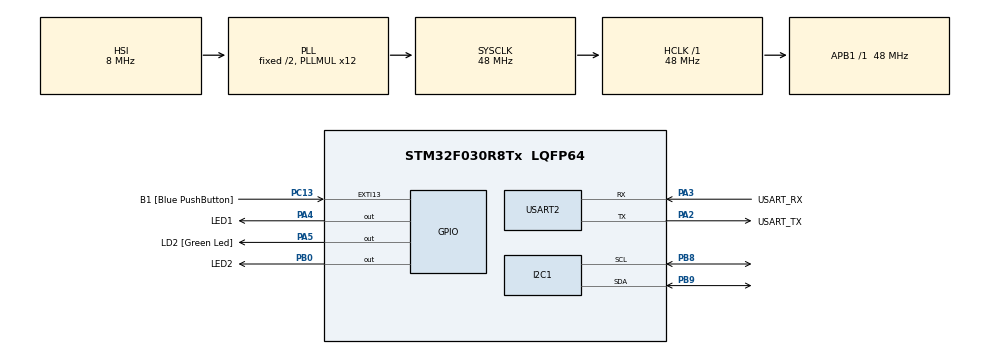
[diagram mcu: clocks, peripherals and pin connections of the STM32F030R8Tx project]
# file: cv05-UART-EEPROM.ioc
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Dma.Request0=USART2_RX
Dma.USART2_RX.0.Direction=DMA_PERIPH_TO_MEMORY
Dma.USART2_RX.0.Instance=DMA1_Channel5
Dma.USART2_RX.0.MemDataAlignment=DMA_MDATAALIGN_BYTE
Dma.USART2_RX.0.MemInc=DMA_MINC_ENABLE
Dma.USART2_RX.0.Mode=DMA_CIRCULAR
Dma.USART2_RX.0.PeriphDataAlignment=DMA_PDATAALIGN_BYTE
Dma.USART2_RX.0.PeriphInc=DMA_PINC_DISABLE
Dma.USART2_RX.0.Priority=DMA_PRIORITY_LOW
Mcu.Family=STM32F0
Mcu.Name=STM32F030R8Tx
Mcu.Package=LQFP64
NVIC.DMA1_Channel4_5_IRQn=true\:0\:0\:false\:false\:true\:false\:true\:true
PA13.GPIO_Label=TMS
PA13.Mode=Serial_Wire
PA13.Signal=SYS_SWDIO
PA14.GPIO_Label=TCK
PA14.Mode=Serial_Wire
PA14.Signal=SYS_SWCLK
PA2.GPIO_Label=USART_TX
PA2.GPIO_Mode=GPIO_MODE_AF_PP
PA2.GPIO_PuPd=GPIO_NOPULL
PA2.GPIO_Speed=GPIO_SPEED_FREQ_LOW
PA2.Mode=Asynchronous
PA2.Signal=USART2_TX
PA3.GPIO_Label=USART_RX
PA3.GPIO_Mode=GPIO_MODE_AF_PP
PA3.GPIO_PuPd=GPIO_NOPULL
PA3.GPIO_Speed=GPIO_SPEED_FREQ_LOW
PA3.Mode=Asynchronous
PA3.Signal=USART2_RX
PA4.GPIO_Label=LED1
PA4.Signal=GPIO_Output
PA5.GPIO_Label=LD2 [Green Led]
PA5.GPIO_Mode=GPIO_MODE_OUTPUT_PP
PA5.GPIO_PuPd=GPIO_NOPULL
PA5.GPIO_Speed=GPIO_SPEED_FREQ_LOW
PA5.Signal=GPIO_Output
PB0.GPIO_Label=LED2
PB0.Signal=GPIO_Output
PB8.Mode=I2C
PB8.Signal=I2C1_SCL
PB9.Mode=I2C
PB9.Signal=I2C1_SDA
PC13.GPIO_Label=B1 [Blue PushButton]
PC13.GPIO_ModeDefaultEXTI=GPIO_MODE_IT_FALLING
PC13.Signal=GPXTI13
PC14-OSC32_IN.Mode=LSE-External-Oscillator
PC14-OSC32_IN.Signal=RCC_OSC32_IN
PC15-OSC32_OUT.Mode=LSE-External-Oscillator
PC15-OSC32_OUT.Signal=RCC_OSC32_OUT
PF0-OSC_IN.Mode=HSE-External-Clock-Source
PF0-OSC_IN.Signal=RCC_OSC_IN
PF1-OSC_OUT.Signal=RCC_OSC_OUT
ProjectManager.HeapSize=0x200
ProjectManager.StackSize=0x400
ProjectManager.TargetToolchain=STM32CubeIDE
RCC.AHBFreq_Value=48000000
RCC.APB1Freq_Value=48000000
RCC.APB1TimFreq_Value=48000000
RCC.HCLKFreq_Value=48000000
RCC.PLLMUL=RCC_PLL_MUL12
RCC.SYSCLKFreq_VALUE=48000000
RCC.SYSCLKSource=RCC_SYSCLKSOURCE_PLLCLK
USART2.VirtualMode-Asynchronous=VM_ASYNC
board=NUCLEO-F030R8

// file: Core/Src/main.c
/* USER CODE BEGIN Header */
/**
 ******************************************************************************
 * @file           : main.c
 * @brief          : Main program body
 ******************************************************************************
 * @attention
 *
 * Copyright (c) 2023 STMicroelectronics.
 * All rights reserved.
 *
 * This software is licensed under terms that can be found in the LICENSE file
 * in the root directory of this software component.
 * If no LICENSE file comes with this software, it is provided AS-IS.
 *
 ******************************************************************************
 */
/* USER CODE END Header */
#include "main.h"

/* USER CODE BEGIN Includes */
#include <stdio.h>
#include <string.h>
#include <stdlib.h>
/* USER CODE END Includes */

/* USER CODE BEGIN PD */
#define RX_BUFFER_LEN 64
#define CMD_BUFFER_LEN 256
#define uart_rx_write_ptr (RX_BUFFER_LEN - hdma_usart2_rx.Instance->CNDTR)

#define EEPROM_ADDR 0xA0
/* USER CODE END PD */

I2C_HandleTypeDef hi2c1;

UART_HandleTypeDef huart2;
DMA_HandleTypeDef hdma_usart2_rx;

/* USER CODE BEGIN PV */
static volatile uint16_t uart_rx_read_ptr = 0;
static uint8_t uart_rx_buf[RX_BUFFER_LEN];
/* USER CODE END PV */

void SystemClock_Config(void);
static void MX_GPIO_Init(void);
static void MX_DMA_Init(void);
static void MX_USART2_UART_Init(void);
static void MX_I2C1_Init(void);

/* USER CODE BEGIN 0 */
int _write(int file, char const *buf, int n) {
	/* stdout redirection to UART2 */
	HAL_UART_Transmit(&huart2, (uint8_t*) (buf), n, HAL_MAX_DELAY);
	return n;
}

static void uart_process_command(char *cmd) {
	char *token;
	token = strtok(cmd, " ");

	// ----------------- HELLO command -----------------
	if (strcasecmp(token, "HELLO") == 0) {
		printf("Komunikace OK\n");
	}

	// ----------------- LED1 command -----------------
	else if (strcasecmp(token, "LED1") == 0) {
		token = strtok(NULL, " ");

		if (strcasecmp(token, "ON") == 0) {
			// Turn on LED1
			HAL_GPIO_WritePin(LED1_GPIO_Port, LED1_Pin, 1);
		} else if (strcasecmp(token, "OFF") == 0) {
			// Turn off LED1
			HAL_GPIO_WritePin(LED1_GPIO_Port, LED1_Pin, 0);
		} else {
			printf("N");
		}
		printf("OK\n");
	}

	// ----------------- LED2 command -----------------
	else if (strcasecmp(token, "LED2") == 0) {
		token = strtok(NULL, " ");

		if (strcasecmp(token, "ON") == 0) {
			// Turn on LED2
			HAL_GPIO_WritePin(LED2_GPIO_Port, LED2_Pin, 1);
		} else if (strcasecmp(token, "OFF") == 0) {
			// Turn off LED2
			HAL_GPIO_WritePin(LED2_GPIO_Port, LED2_Pin, 0);
		} else {
			printf("N");
		}
		printf("OK\n");
	}

	// ----------------- STATUS command -----------------
	else if (strcasecmp(token, "STATUS") == 0) {
		printf("LED1 %s; LED2 %s;\n",
				HAL_GPIO_ReadPin(LED1_GPIO_Port, LED1_Pin)?"ON":"OFF",
				HAL_GPIO_ReadPin(LED2_GPIO_Port, LED2_Pin)?"ON":"OFF");
	}

	// ----------------- READ command -----------------
	else if (strcasecmp(token, "READ") == 0) {
		token = strtok(NULL, " ");

		uint16_t addr = atoi(token);
		uint8_t value;

		HAL_I2C_Mem_Read(&hi2c1, EEPROM_ADDR, addr, I2C_MEMADD_SIZE_16BIT, &value, 1, 1000);
		printf("Hodnota na adrese: 0x%04X je 0x%02X\n", addr, value);
	}

	// ----------------- WRITE command -----------------
	else if (strcasecmp(token, "WRITE") == 0) {
		token = strtok(NULL, " ");
		uint16_t addr = atoi(token);
		token = strtok(NULL, " ");
		uint8_t value = atoi(token);

		HAL_I2C_Mem_Write(&hi2c1, EEPROM_ADDR, addr, I2C_MEMADD_SIZE_16BIT, &value, 1, 1000);
		/* Check if the EEPROM is ready for a new operation */
		while (HAL_I2C_IsDeviceReady(&hi2c1, EEPROM_ADDR, 300, 1000) == HAL_TIMEOUT) {}
		printf("Uspesne zapsana hodnota: 0x%02X na adresu 0x%04X\n", value, addr);

	}

	// ----------------- DUMP command -----------------
	else if (strcasecmp(token, "DUMP") == 0) {
		for (uint16_t addr = 0; addr < 16; addr++) {
			uint8_t value;
			HAL_I2C_Mem_Read(&hi2c1, EEPROM_ADDR, addr, I2C_MEMADD_SIZE_16BIT, &value, 1, 1000);
			printf("%02X%s", value, (addr%8)==7?"\n":" ");
		}
	}
}

static void uart_byte_available(uint8_t c) {

	static uint16_t cnt;
	static char data[CMD_BUFFER_LEN];

	if (cnt < CMD_BUFFER_LEN && c >= 32 && c <= 126)
		data[cnt++] = c;

	if ((c == '\n' || c == '\r') && cnt > 0) {
		data[cnt] = '\0';
		uart_process_command(data);
		cnt = 0;
	}

}
/* USER CODE END 0 */

int main(void)
{

  /* MCU Configuration--------------------------------------------------------*/

  /* Reset of all peripherals, Initializes the Flash interface and the Systick. */
  HAL_Init();

  /* Configure the system clock */
  SystemClock_Config();

  /* Initialize all configured peripherals */
  MX_GPIO_Init();
  MX_DMA_Init();
  MX_USART2_UART_Init();
  MX_I2C1_Init();

  /* Infinite loop */
  /* USER CODE BEGIN WHILE */
	HAL_UART_Receive_DMA(&huart2, uart_rx_buf, RX_BUFFER_LEN);

	while (1) {

		while (uart_rx_read_ptr != uart_rx_write_ptr) {
			uint8_t b = uart_rx_buf[uart_rx_read_ptr];

			if (++uart_rx_read_ptr >= RX_BUFFER_LEN)
				uart_rx_read_ptr = 0; // increase read pointer

			uart_byte_available(b); // process every received byte with the RX state machine
		}

    /* USER CODE END WHILE */

	}
}

void SystemClock_Config(void)
{
  RCC_OscInitTypeDef RCC_OscInitStruct = {0};
  RCC_ClkInitTypeDef RCC_ClkInitStruct = {0};
  RCC_PeriphCLKInitTypeDef PeriphClkInit = {0};

  /** Initializes the RCC Oscillators according to the specified parameters
  * in the RCC_OscInitTypeDef structure.
  */
  RCC_OscInitStruct.OscillatorType = RCC_OSCILLATORTYPE_HSI;
  RCC_OscInitStruct.HSIState = RCC_HSI_ON;
  RCC_OscInitStruct.HSICalibrationValue = RCC_HSICALIBRATION_DEFAULT;
  RCC_OscInitStruct.PLL.PLLState = RCC_PLL_ON;
  RCC_OscInitStruct.PLL.PLLSource = RCC_PLLSOURCE_HSI;
  RCC_OscInitStruct.PLL.PLLMUL = RCC_PLL_MUL12;
  RCC_OscInitStruct.PLL.PREDIV = RCC_PREDIV_DIV1;
  if (HAL_RCC_OscConfig(&RCC_OscInitStruct) != HAL_OK)
  {
    Error_Handler();
  }

  /** Initializes the CPU, AHB and APB buses clocks
  */
  RCC_ClkInitStruct.ClockType = RCC_CLOCKTYPE_HCLK|RCC_CLOCKTYPE_SYSCLK
                              |RCC_CLOCKTYPE_PCLK1;
  RCC_ClkInitStruct.SYSCLKSource = RCC_SYSCLKSOURCE_PLLCLK;
  RCC_ClkInitStruct.AHBCLKDivider = RCC_SYSCLK_DIV1;
  RCC_ClkInitStruct.APB1CLKDivider = RCC_HCLK_DIV1;

  if (HAL_RCC_ClockConfig(&RCC_ClkInitStruct, FLASH_LATENCY_1) != HAL_OK)
  {
    Error_Handler();
  }
  PeriphClkInit.PeriphClockSelection = RCC_PERIPHCLK_I2C1;
  PeriphClkInit.I2c1ClockSelection = RCC_I2C1CLKSOURCE_HSI;
  if (HAL_RCCEx_PeriphCLKConfig(&PeriphClkInit) != HAL_OK)
  {
    Error_Handler();
  }
}

static void MX_I2C1_Init(void)
{

  hi2c1.Instance = I2C1;
  hi2c1.Init.Timing = 0x2000090E;
  hi2c1.Init.OwnAddress1 = 0;
  hi2c1.Init.AddressingMode = I2C_ADDRESSINGMODE_7BIT;
  hi2c1.Init.DualAddressMode = I2C_DUALADDRESS_DISABLE;
  hi2c1.Init.OwnAddress2 = 0;
  hi2c1.Init.OwnAddress2Masks = I2C_OA2_NOMASK;
  hi2c1.Init.GeneralCallMode = I2C_GENERALCALL_DISABLE;
  hi2c1.Init.NoStretchMode = I2C_NOSTRETCH_DISABLE;
  if (HAL_I2C_Init(&hi2c1) != HAL_OK)
  {
    Error_Handler();
  }

  /** Configure Analogue filter
  */
  if (HAL_I2CEx_ConfigAnalogFilter(&hi2c1, I2C_ANALOGFILTER_ENABLE) != HAL_OK)
  {
    Error_Handler();
  }

  /** Configure Digital filter
  */
  if (HAL_I2CEx_ConfigDigitalFilter(&hi2c1, 0) != HAL_OK)
  {
    Error_Handler();
  }

}

static void MX_USART2_UART_Init(void)
{

  huart2.Instance = USART2;
  huart2.Init.BaudRate = 38400;
  huart2.Init.WordLength = UART_WORDLENGTH_8B;
  huart2.Init.StopBits = UART_STOPBITS_1;
  huart2.Init.Parity = UART_PARITY_NONE;
  huart2.Init.Mode = UART_MODE_TX_RX;
  huart2.Init.HwFlowCtl = UART_HWCONTROL_NONE;
  huart2.Init.OverSampling = UART_OVERSAMPLING_16;
  huart2.Init.OneBitSampling = UART_ONE_BIT_SAMPLE_DISABLE;
  huart2.AdvancedInit.AdvFeatureInit = UART_ADVFEATURE_NO_INIT;
  if (HAL_UART_Init(&huart2) != HAL_OK)
  {
    Error_Handler();
  }

}

static void MX_DMA_Init(void)
{

  /* DMA controller clock enable */
  __HAL_RCC_DMA1_CLK_ENABLE();

  /* DMA interrupt init */
  /* DMA1_Channel4_5_IRQn interrupt configuration */
  HAL_NVIC_SetPriority(DMA1_Channel4_5_IRQn, 0, 0);
  HAL_NVIC_EnableIRQ(DMA1_Channel4_5_IRQn);

}

static void MX_GPIO_Init(void)
{
  GPIO_InitTypeDef GPIO_InitStruct = {0};

  /* GPIO Ports Clock Enable */
  __HAL_RCC_GPIOC_CLK_ENABLE();
  __HAL_RCC_GPIOF_CLK_ENABLE();
  __HAL_RCC_GPIOA_CLK_ENABLE();
  __HAL_RCC_GPIOB_CLK_ENABLE();

  /*Configure GPIO pin Output Level */
  HAL_GPIO_WritePin(GPIOA, LED1_Pin|LD2_Pin, GPIO_PIN_RESET);

  /*Configure GPIO pin Output Level */
  HAL_GPIO_WritePin(LED2_GPIO_Port, LED2_Pin, GPIO_PIN_RESET);

  /*Configure GPIO pin : B1_Pin */
  GPIO_InitStruct.Pin = B1_Pin;
  GPIO_InitStruct.Mode = GPIO_MODE_IT_FALLING;
  GPIO_InitStruct.Pull = GPIO_NOPULL;
  HAL_GPIO_Init(B1_GPIO_Port, &GPIO_InitStruct);

  /*Configure GPIO pins : LED1_Pin LD2_Pin */
  GPIO_InitStruct.Pin = LED1_Pin|LD2_Pin;
  GPIO_InitStruct.Mode = GPIO_MODE_OUTPUT_PP;
  GPIO_InitStruct.Pull = GPIO_NOPULL;
  GPIO_InitStruct.Speed = GPIO_SPEED_FREQ_LOW;
  HAL_GPIO_Init(GPIOA, &GPIO_InitStruct);

  /*Configure GPIO pin : LED2_Pin */
  GPIO_InitStruct.Pin = LED2_Pin;
  GPIO_InitStruct.Mode = GPIO_MODE_OUTPUT_PP;
  GPIO_InitStruct.Pull = GPIO_NOPULL;
  GPIO_InitStruct.Speed = GPIO_SPEED_FREQ_LOW;
  HAL_GPIO_Init(LED2_GPIO_Port, &GPIO_InitStruct);

}

void Error_Handler(void)
{
	__disable_irq();
	while (1) {
	}
}
